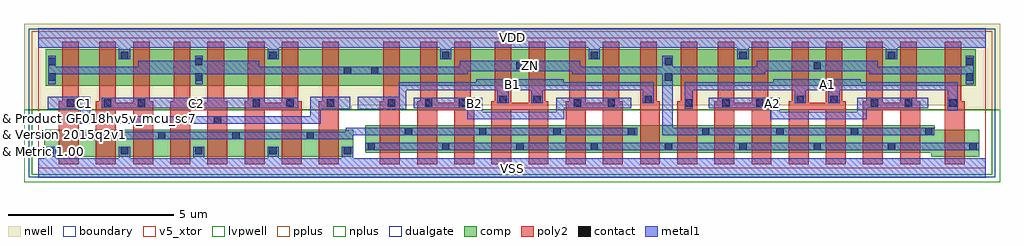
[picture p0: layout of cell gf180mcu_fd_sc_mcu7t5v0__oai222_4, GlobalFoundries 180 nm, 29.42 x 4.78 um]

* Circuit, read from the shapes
.subckt gf180mcu_fd_sc_mcu7t5v0__oai222_4 A1 A2 B1 B2 C1 C2 VDD VSS ZN
XM1 n1 C1 VSS VSUBS nfet_05v0 w=0.82u l=0.6u m=4
XM2 VSS C2 n1 VSUBS nfet_05v0 w=0.82u l=0.6u m=4
XM3 n1 B1 n2 VSUBS nfet_05v0 w=0.82u l=0.6u m=4
XM4 n2 B2 n1 VSUBS nfet_05v0 w=0.82u l=0.6u m=4
XM5 ZN A1 n2 VSUBS nfet_05v0 w=0.82u l=0.6u m=4
XM6 n2 A2 ZN VSUBS nfet_05v0 w=0.82u l=0.6u m=4
XM7 n3 C1 ZN n4 pfet_05v0 w=1.095u l=0.5u
XM8 VDD C2 n3 n4 pfet_05v0 w=1.095u l=0.5u
XM9 n5 C2 VDD n4 pfet_05v0 w=1.095u l=0.5u
XM10 ZN C1 n5 n4 pfet_05v0 w=1.095u l=0.5u
XM11 n6 C1 ZN n4 pfet_05v0 w=1.095u l=0.5u
XM12 VDD C2 n6 n4 pfet_05v0 w=1.095u l=0.5u
XM13 n7 C2 VDD n4 pfet_05v0 w=1.095u l=0.5u
XM14 ZN C1 n7 n4 pfet_05v0 w=1.095u l=0.5u
XM15 n8 B1 ZN n4 pfet_05v0 w=1.095u l=0.5u
XM16 VDD B2 n8 n4 pfet_05v0 w=1.095u l=0.5u
XM17 n9 B2 VDD n4 pfet_05v0 w=1.095u l=0.5u
XM18 ZN B1 n9 n4 pfet_05v0 w=1.095u l=0.5u
XM19 n10 B1 ZN n4 pfet_05v0 w=1.095u l=0.5u
XM20 VDD B2 n10 n4 pfet_05v0 w=1.095u l=0.5u
XM21 n11 B2 VDD n4 pfet_05v0 w=1.095u l=0.5u
XM22 ZN B1 n11 n4 pfet_05v0 w=1.095u l=0.5u
XM23 n12 A1 ZN n4 pfet_05v0 w=1.095u l=0.5u
XM24 VDD A2 n12 n4 pfet_05v0 w=1.095u l=0.5u
XM25 n13 A2 VDD n4 pfet_05v0 w=1.095u l=0.5u
XM26 ZN A1 n13 n4 pfet_05v0 w=1.095u l=0.5u
XM27 n14 A1 ZN n4 pfet_05v0 w=1.095u l=0.5u
XM28 VDD A2 n14 n4 pfet_05v0 w=1.095u l=0.5u
XM29 n15 A2 VDD n4 pfet_05v0 w=1.095u l=0.5u
XM30 ZN A1 n15 n4 pfet_05v0 w=1.095u l=0.5u
.ends

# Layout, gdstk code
import gdstk
lib = gdstk.Library(unit=1e-6, precision=1e-09)
def R(c, l, rs):  # rectangles x0, y0, x1, y1
    for r in rs: c.add(gdstk.rectangle(r[:2], r[2:], *l))
def A(c, l, x, y, w, h, nx, ny, dx, dy):  # array of equal rectangles
    R(c, l, [(x+i*dx, y+j*dy, x+i*dx+w, y+j*dy+h) for i in range(nx) for j in range(ny)])
def P(c, l, *ps):  # polygons
    for p in ps: c.add(gdstk.Polygon(p, *l))
boundary = (0, 0)
nwell = (21, 0)
comp = (22, 0)
poly2 = (30, 0)
pplus = (31, 0)
nplus = (32, 0)
contact = (33, 0)
metal1 = (34, 0)
dualgate = (55, 0)
v5_xtor = (112, 1)
lvpwell = (204, 0)

gf180mcu_fd_sc_mcu7t5v0_ = lib.new_cell('gf180mcu_fd_sc_mcu7t5v0__oai222_4')
R(gf180mcu_fd_sc_mcu7t5v0_, boundary, [(0,0,28.56,3.92)])
P(gf180mcu_fd_sc_mcu7t5v0_, nwell, [(-0.43,1.76),(-0.43,4.35),(28.99,4.35),(28.99,1.76),(27.395,1.76),(27.395,1.885),(9.45,1.885),(9.45,1.76)])
R(gf180mcu_fd_sc_mcu7t5v0_, comp, [(0.18,0.34,9.5,1.16), (0.23,2.485,28.26,3.58)])
P(gf180mcu_fd_sc_mcu7t5v0_, comp, [(26.92,0.34),(26.92,0.465),(9.86,0.465),(9.86,1.285),(27.02,1.285),(27.02,1.16),(28.36,1.16),(28.36,0.34)])
P(gf180mcu_fd_sc_mcu7t5v0_, poly2, [(0.62,0.12),(0.62,2.01),(0.72,2.01),(0.72,3.8),(1.22,3.8),(1.22,0.12)],
  [(1.74,0.12),(1.74,2.01),(1.84,2.01),(1.84,3.8),(2.34,3.8),(2.34,1.97),(2.86,1.97),(2.86,3.8),(3.36,3.8),(3.36,2.01),(3.46,2.01),(3.46,0.12),(2.86,0.12),(2.86,1.74),(2.34,1.74),(2.34,0.12)],
  [(3.98,0.12),(3.98,2.01),(4.08,2.01),(4.08,3.8),(4.58,3.8),(4.58,1.97),(5.1,1.97),(5.1,3.8),(5.6,3.8),(5.6,2.01),(5.7,2.01),(5.7,0.12),(5.1,0.12),(5.1,1.74),(4.58,1.74),(4.58,0.12)],
  [(6.22,0.12),(6.22,2.01),(6.32,2.01),(6.32,3.8),(6.82,3.8),(6.82,1.97),(7.34,1.97),(7.34,3.8),(7.84,3.8),(7.84,2.01),(7.94,2.01),(7.94,0.12),(7.34,0.12),(7.34,1.74),(6.82,1.74),(6.82,0.12)],
  [(8.46,0.12),(8.46,2.01),(8.56,2.01),(8.56,3.8),(9.06,3.8),(9.06,0.12)],
  [(10.3,0.12),(10.3,2.01),(10.4,2.01),(10.4,3.8),(10.9,3.8),(10.9,0.12)],
  [(11.42,0.12),(11.42,2.01),(11.52,2.01),(11.52,3.8),(12.02,3.8),(12.02,1.97),(12.54,1.97),(12.54,3.8),(13.04,3.8),(13.04,2.01),(13.14,2.01),(13.14,0.12),(12.54,0.12),(12.54,1.74),(12.02,1.74),(12.02,0.12)],
  [(13.66,0.12),(13.66,2.01),(13.76,2.01),(13.76,3.8),(14.26,3.8),(14.26,1.97),(14.78,1.97),(14.78,3.8),(15.28,3.8),(15.28,2.01),(15.38,2.01),(15.38,0.12),(14.78,0.12),(14.78,1.74),(14.26,1.74),(14.26,0.12)],
  [(15.9,0.12),(15.9,2.01),(16,2.01),(16,3.8),(16.5,3.8),(16.5,1.97),(17.02,1.97),(17.02,3.8),(17.52,3.8),(17.52,2.01),(17.62,2.01),(17.62,0.12),(17.02,0.12),(17.02,1.74),(16.5,1.74),(16.5,0.12)],
  [(18.14,0.12),(18.14,3.8),(18.64,3.8),(18.64,2.01),(18.74,2.01),(18.74,0.12)],
  [(19.26,0.12),(19.26,2.01),(19.36,2.01),(19.36,3.8),(19.86,3.8),(19.86,0.12)],
  [(20.38,0.12),(20.38,2.01),(20.48,2.01),(20.48,3.8),(20.98,3.8),(20.98,1.97),(21.5,1.97),(21.5,3.8),(22,3.8),(22,2.01),(22.1,2.01),(22.1,0.12),(21.5,0.12),(21.5,1.74),(20.98,1.74),(20.98,0.12)],
  [(22.62,0.12),(22.62,2.01),(22.72,2.01),(22.72,3.8),(23.22,3.8),(23.22,1.97),(23.74,1.97),(23.74,3.8),(24.24,3.8),(24.24,2.01),(24.34,2.01),(24.34,0.12),(23.74,0.12),(23.74,1.74),(23.22,1.74),(23.22,0.12)],
  [(24.86,0.12),(24.86,2.01),(24.96,2.01),(24.96,3.8),(25.46,3.8),(25.46,1.97),(25.98,1.97),(25.98,3.8),(26.48,3.8),(26.48,2.01),(26.58,2.01),(26.58,0.12),(25.98,0.12),(25.98,1.74),(25.46,1.74),(25.46,0.12)],
  [(27.32,0.12),(27.32,3.8),(27.82,3.8),(27.82,2.01),(27.92,2.01),(27.92,0.12)])
R(gf180mcu_fd_sc_mcu7t5v0_, pplus, [(-0.2,1.76,28.76,4.12)])
R(gf180mcu_fd_sc_mcu7t5v0_, nplus, [(-0.2,-0.2,28.76,1.76)])
A(gf180mcu_fd_sc_mcu7t5v0_, contact, 0.25, 0.41, 0.22, 0.22, 5, 1, 2.24, 0)
A(gf180mcu_fd_sc_mcu7t5v0_, contact, 9.93, 0.535, 0.22, 0.22, 8, 1, 2.24, 0)
A(gf180mcu_fd_sc_mcu7t5v0_, contact, 1.37, 0.87, 0.22, 0.22, 4, 1, 2.24, 0)
A(gf180mcu_fd_sc_mcu7t5v0_, contact, 11.05, 0.995, 0.22, 0.22, 8, 1, 2.24, 0)
A(gf180mcu_fd_sc_mcu7t5v0_, contact, 12.17, 3.29, 0.22, 0.22, 4, 1, 4.48, 0)
R(gf180mcu_fd_sc_mcu7t5v0_, contact, [(28.07,0.535,28.29,0.755), (4.17,1.335,4.39,1.555), (5.29,1.335,5.51,1.555), (0.86,1.85,1.08,2.07), (1.98,1.85,2.2,2.07), (3,1.85,3.22,2.07), (6.46,1.85,6.68,2.07), (7.48,1.85,7.7,2.07), (8.7,1.85,8.92,2.07), (10.54,1.85,10.76,2.07), (11.66,1.85,11.88,2.07), (12.68,1.85,12.9,2.07), (16.14,1.85,16.36,2.07), (17.16,1.85,17.38,2.07), (19.5,1.85,19.72,2.07), (20.62,1.85,20.84,2.07), (21.64,1.85,21.86,2.07), (25.1,1.85,25.32,2.07), (26.12,1.85,26.34,2.07), (27.46,1.85,27.68,2.07), (13.9,1.955,14.12,2.175), (14.92,1.955,15.14,2.175), (18.28,1.955,18.5,2.175), (22.86,1.955,23.08,2.175), (23.88,1.955,24.1,2.175), (0.3,2.63,0.52,2.85), (4.73,2.63,4.95,2.85), (18.89,2.63,19.11,2.85), (27.97,2.63,28.19,2.85), (9.21,2.825,9.43,3.045), (10.03,2.825,10.25,3.045), (14.41,2.97,14.63,3.19), (23.37,2.97,23.59,3.19), (0.3,3.1,0.52,3.32), (4.73,3.1,4.95,3.32), (18.89,3.1,19.11,3.32), (27.97,3.1,28.19,3.32), (2.49,3.285,2.71,3.505), (6.97,3.29,7.19,3.51)])
R(gf180mcu_fd_sc_mcu7t5v0_, metal1, [(9.86,0.53,28.36,0.76), (1.92,1.8,7.84,2.12)])
P(gf180mcu_fd_sc_mcu7t5v0_, metal1, [(1.255,1.33),(1.255,1.77),(0.28,1.77),(0.28,2.15),(1.57,2.15),(1.57,1.56),(8.2,1.56),(8.2,2.15),(9.4,2.15),(9.4,1.77),(8.515,1.77),(8.515,1.33)],
  [(12.93,1.47),(12.93,1.8),(11.32,1.8),(11.32,2.12),(13.39,2.12),(13.39,1.7),(15.62,1.7),(15.62,2.12),(17.87,2.12),(17.87,1.8),(15.85,1.8),(15.85,1.47)],
  [(1.31,0.865),(1.31,1.095),(9.265,1.095),(9.265,1.22),(18.05,1.22),(18.05,0.99),(9.495,0.99),(9.495,0.865)],
  [(9.63,1.77),(9.63,2.15),(10.86,2.15),(10.86,2.58),(13.2,2.58),(13.2,2.68),(15.84,2.68),(15.84,2.58),(18.56,2.58),(18.56,1.95),(18.22,1.95),(18.22,2.35),(15.2,2.35),(15.2,1.95),(14.86,1.95),(14.86,2.35),(14.18,2.35),(14.18,1.95),(13.84,1.95),(13.84,2.35),(11.09,2.35),(11.09,1.77)],
  [(22.07,1.47),(22.07,1.8),(20.21,1.8),(20.21,2.12),(22.35,2.12),(22.35,1.7),(24.69,1.7),(24.69,2.12),(26.83,2.12),(26.83,1.8),(24.97,1.8),(24.97,1.47)],
  [(27.42,1.72),(27.42,2.35),(24.16,2.35),(24.16,1.95),(23.82,1.95),(23.82,2.35),(23.14,2.35),(23.14,1.95),(22.8,1.95),(22.8,2.35),(19.73,2.35),(19.73,1.79),(19.49,1.79),(19.49,2.58),(22.16,2.58),(22.16,2.68),(24.8,2.68),(24.8,2.58),(27.715,2.58),(27.715,1.72)],
  [(18.81,0.99),(18.81,2.82),(16.09,2.82),(16.09,2.92),(12.95,2.92),(12.95,2.82),(4.955,2.82),(4.955,2.53),(4.725,2.53),(4.725,2.82),(0.525,2.82),(0.525,2.53),(0.295,2.53),(0.295,3.38),(0.525,3.38),(0.525,3.05),(3.02,3.05),(3.02,3.24),(4.725,3.24),(4.725,3.38),(4.955,3.38),(4.955,3.24),(6.66,3.24),(6.66,3.05),(12.7,3.05),(12.7,3.24),(16.34,3.24),(16.34,3.05),(18.81,3.05),(18.81,3.38),(19.12,3.38),(19.12,3.05),(21.66,3.05),(21.66,3.24),(25.3,3.24),(25.3,3.05),(27.965,3.05),(27.965,3.38),(28.195,3.38),(28.195,2.53),(27.965,2.53),(27.965,2.82),(25.05,2.82),(25.05,2.92),(21.91,2.92),(21.91,2.82),(19.12,2.82),(19.12,1.22),(27.01,1.22),(27.01,0.99)],
  [(0,-0.3),(0,0.3),(0.19,0.3),(0.19,0.635),(0.53,0.635),(0.53,0.3),(2.43,0.3),(2.43,0.635),(2.77,0.635),(2.77,0.3),(4.67,0.3),(4.67,0.635),(5.01,0.635),(5.01,0.3),(6.91,0.3),(6.91,0.635),(7.25,0.635),(7.25,0.3),(9.15,0.3),(9.15,0.635),(9.49,0.635),(9.49,0.3),(28.56,0.3),(28.56,-0.3)],
  [(2.43,3.28),(2.43,3.62),(0,3.62),(0,4.22),(28.56,4.22),(28.56,3.62),(25.89,3.62),(25.89,3.285),(25.55,3.285),(25.55,3.62),(21.41,3.62),(21.41,3.285),(21.07,3.285),(21.07,3.62),(16.93,3.62),(16.93,3.285),(16.59,3.285),(16.59,3.62),(12.45,3.62),(12.45,3.285),(12.11,3.285),(12.11,3.62),(7.25,3.62),(7.25,3.285),(6.91,3.285),(6.91,3.62),(2.77,3.62),(2.77,3.28)])
R(gf180mcu_fd_sc_mcu7t5v0_, dualgate, [(-0.28,-0.28,28.84,4.2)])
R(gf180mcu_fd_sc_mcu7t5v0_, v5_xtor, [(0,0,28.56,3.92)])
R(gf180mcu_fd_sc_mcu7t5v0_, lvpwell, [(-0.43,-0.43,28.99,1.76)])
gf180mcu_fd_sc_mcu7t5v0_.add(gdstk.Label('B1', (14.28,2.52), layer=34, texttype=10))
gf180mcu_fd_sc_mcu7t5v0_.add(gdstk.Label('B2', (13.16,1.96), layer=34, texttype=10))
gf180mcu_fd_sc_mcu7t5v0_.add(gdstk.Label('C1', (1.4,1.96), layer=34, texttype=10))
gf180mcu_fd_sc_mcu7t5v0_.add(gdstk.Label('C2', (4.76,1.96), layer=34, texttype=10))
gf180mcu_fd_sc_mcu7t5v0_.add(gdstk.Label('VDD', (14.28,3.92), layer=34, texttype=10))
gf180mcu_fd_sc_mcu7t5v0_.add(gdstk.Label('VSS', (14.28,0), layer=34, texttype=10))
gf180mcu_fd_sc_mcu7t5v0_.add(gdstk.Label('ZN', (14.84,3.08), layer=34, texttype=10))
gf180mcu_fd_sc_mcu7t5v0_.add(gdstk.Label('A1', (23.8,2.52), layer=34, texttype=10))
gf180mcu_fd_sc_mcu7t5v0_.add(gdstk.Label('A2', (22.12,1.96), layer=34, texttype=10))
gf180mcu_fd_sc_mcu7t5v0_.add(gdstk.Label('& Vendor GLOBALFOUNDRIES', (0,2), layer=63, texttype=63))
gf180mcu_fd_sc_mcu7t5v0_.add(gdstk.Label('& Product GF018hv5v_mcu_sc7', (0,1.5), layer=63, texttype=63))
gf180mcu_fd_sc_mcu7t5v0_.add(gdstk.Label('& Version 2015q2v1', (0,1), layer=63, texttype=63))
gf180mcu_fd_sc_mcu7t5v0_.add(gdstk.Label('& Metric 1.00', (0,0.5), layer=63, texttype=63))

lib.write_gds('gf180mcu_fd_sc_mcu7t5v0__oai222_4.gds')
